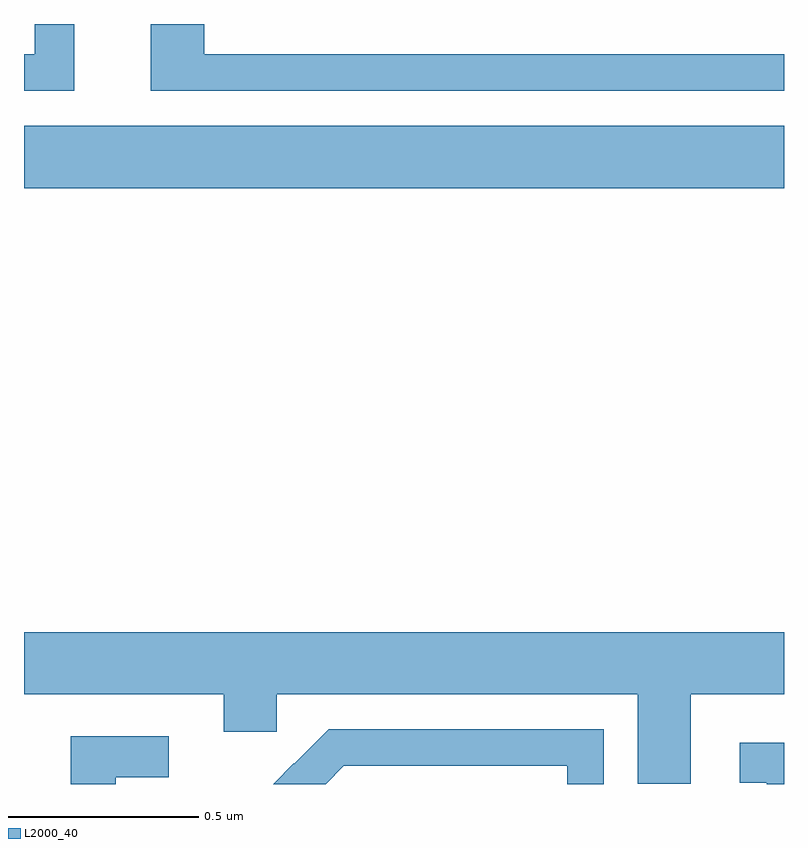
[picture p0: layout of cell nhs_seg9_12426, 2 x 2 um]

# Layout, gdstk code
import gdstk
lib = gdstk.Library(unit=1e-6, precision=1e-09)
def R(c, l, rs):  # rectangles x0, y0, x1, y1
    for r in rs: c.add(gdstk.rectangle(r[:2], r[2:], *l))
def P(c, l, *ps):  # polygons
    for p in ps: c.add(gdstk.Polygon(p, *l))
L2000_40 = (2000, 40)

nhs_seg9_12426 = lib.new_cell('nhs_seg9_12426')
R(nhs_seg9_12426, L2000_40, [(268,1215.068,270,1215.232)])
P(nhs_seg9_12426, L2000_40, [(268.132,1215.5),(268.028,1215.5),(268.028,1215.42),(268,1215.42),(268,1215.324),(268.132,1215.324)],
  [(270,1215.42),(268.474,1215.42),(268.474,1215.5),(268.334,1215.5),(268.334,1215.324),(270,1215.324)],
  [(269.755,1213.736),(270,1213.736),(270,1213.9),(268,1213.9),(268,1213.736),(268.526,1213.736),(268.526,1213.638),(268.665,1213.638),(268.665,1213.736),(269.615,1213.736),(269.615,1213.501),(269.755,1213.501)],
  [(268.842,1213.548),(269.429,1213.548),(269.429,1213.5),(269.526,1213.5),(269.526,1213.644),(268.802,1213.644),(268.711,1213.553),(268.71,1213.554),(268.656,1213.5),(268.794,1213.5)],
  [(268.241,1213.518),(268.381,1213.518),(268.381,1213.626),(268.123,1213.626),(268.123,1213.5),(268.241,1213.5)],
  [(270,1213.609),(269.883,1213.609),(269.883,1213.503),(269.955,1213.503),(269.955,1213.5),(270,1213.5)])

lib.write_gds('nhs_seg9_12426.gds')
